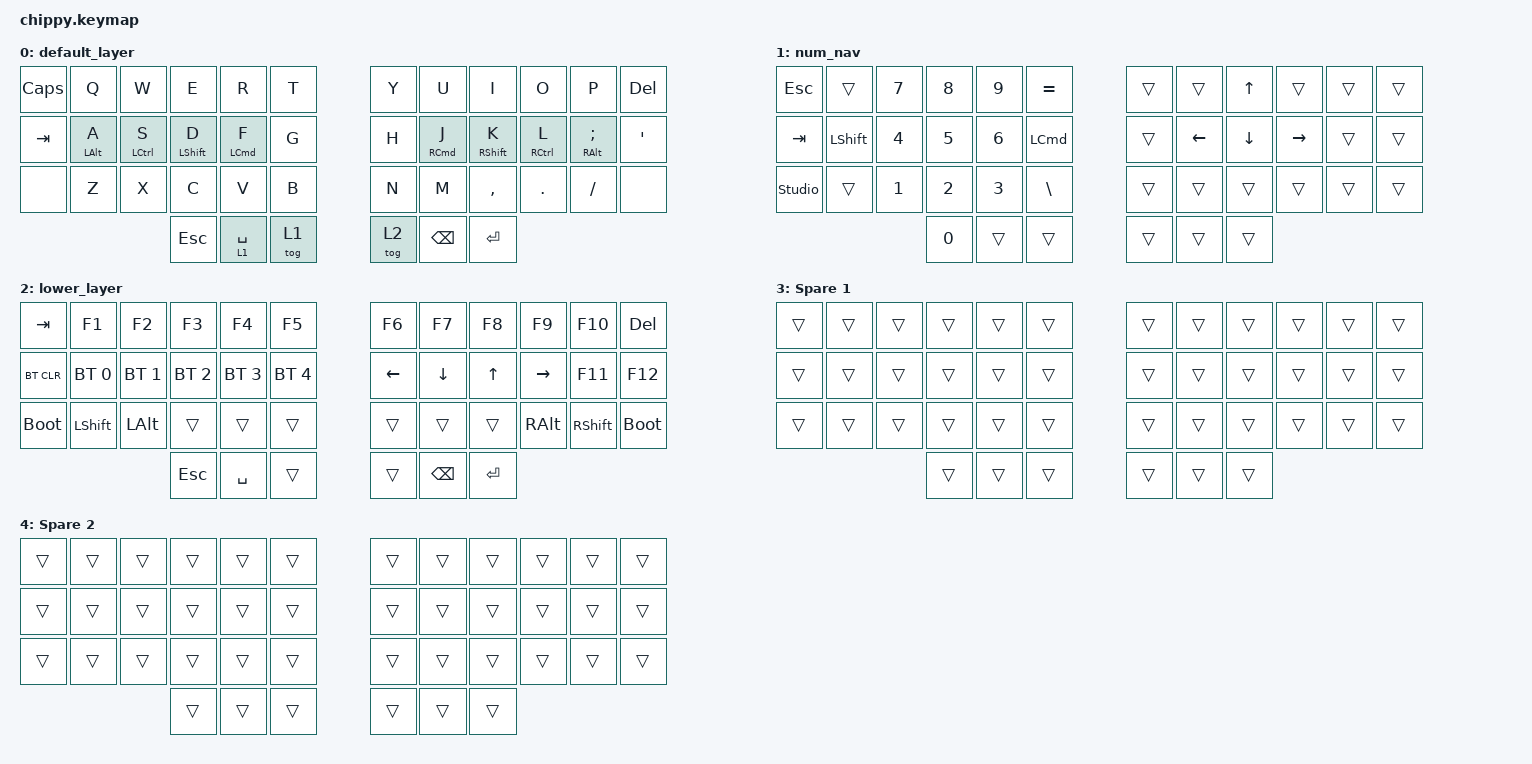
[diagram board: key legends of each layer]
/*
 * Copyright (c) 2020 The ZMK Contributors
 *
 * SPDX-License-Identifier: MIT
 */

#include <behaviors.dtsi>
#include <dt-bindings/zmk/bt.h>
#include <dt-bindings/zmk/keys.h>

/ {
    keymap {
        compatible = "zmk,keymap";

        default_layer {
            bindings = <
&kp CAPS  &kp Q           &kp W        &kp E             &kp R               &kp T   &kp Y   &kp U                &kp I              &kp O        &kp P               &kp DELETE
&kp TAB   &mt LEFT_ALT A  &mt LCTRL S  &mt LEFT_SHIFT D  &mt LEFT_COMMAND F  &kp G   &kp H   &mt RIGHT_COMMAND J  &mt RIGHT_SHIFT K  &mt RCTRL L  &mt RIGHT_ALT SEMI  &kp SQT
&none     &kp Z           &kp X        &kp C             &kp V               &kp B   &kp N   &kp M                &kp COMMA          &kp DOT      &kp FSLH            &none
                                       &kp ESC           &lt 1 SPACE         &tog 1  &tog 2  &kp BSPC             &kp ENTER
            >;
        };

        num_nav {
            bindings = <
&kp ESCAPE      &trans     &kp N7  &kp N8  &kp N9  &kp EQUAL         &trans  &trans          &kp UP_ARROW  &trans     &trans  &trans
&kp TAB         &kp LSHFT  &kp N4  &kp N5  &kp N6  &kp LEFT_COMMAND  &trans  &kp LEFT_ARROW  &kp DOWN      &kp RIGHT  &trans  &trans
&studio_unlock  &trans     &kp N1  &kp N2  &kp N3  &kp BSLH          &trans  &trans          &trans        &trans     &trans  &trans
                                   &kp N0  &trans  &trans            &trans  &trans          &trans
            >;
        };

        lower_layer {
            bindings = <
&kp TAB      &kp F1        &kp F2        &kp F3        &kp F4        &kp F5        &kp F6    &kp F7         &kp F8     &kp F9     &kp F10    &kp DELETE
&bt BT_CLR   &bt BT_SEL 0  &bt BT_SEL 1  &bt BT_SEL 2  &bt BT_SEL 3  &bt BT_SEL 4  &kp LEFT  &kp DOWN       &kp UP     &kp RIGHT  &kp F11    &kp F12
&bootloader  &kp LSHFT     &kp LALT      &trans        &trans        &trans        &trans    &trans         &trans     &kp RALT   &kp RSHFT  &bootloader
                                         &kp ESCAPE    &kp SPACE     &trans        &trans    &kp BACKSPACE  &kp ENTER
            >;
        };

        spare_1 {
            display-name = "Spare 1";
            bindings = <
&trans  &trans  &trans  &trans  &trans  &trans  &trans  &trans  &trans  &trans  &trans  &trans
&trans  &trans  &trans  &trans  &trans  &trans  &trans  &trans  &trans  &trans  &trans  &trans
&trans  &trans  &trans  &trans  &trans  &trans  &trans  &trans  &trans  &trans  &trans  &trans
                        &trans  &trans  &trans  &trans  &trans  &trans
            >;
        };

        spare_2 {
            display-name = "Spare 2";
            bindings = <
&trans  &trans  &trans  &trans  &trans  &trans  &trans  &trans  &trans  &trans  &trans  &trans
&trans  &trans  &trans  &trans  &trans  &trans  &trans  &trans  &trans  &trans  &trans  &trans
&trans  &trans  &trans  &trans  &trans  &trans  &trans  &trans  &trans  &trans  &trans  &trans
                        &trans  &trans  &trans  &trans  &trans  &trans
            >;
        };
    };
};
